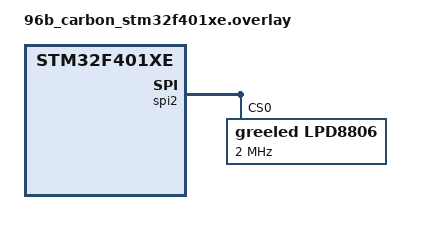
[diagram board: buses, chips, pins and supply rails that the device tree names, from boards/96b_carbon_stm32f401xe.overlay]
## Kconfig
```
# Copyright (c) 2019 Nordic Semiconductor ASA
# SPDX-License-Identifier: Apache-2.0

menu "WS2812 Sample Configuration"

config SAMPLE_LED_UPDATE_DELAY
	int "Delay between LED updates in ms"
	default 50
	help
	  Delay between LED updates in ms.

endmenu

source "Kconfig.zephyr"
```

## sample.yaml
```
sample:
  description: Demonstration of the LED strip driver
  name: LED strip sample
tests:
  sample.drivers.led_strip:
    tags: LED
    filter: dt_alias_exists("led-strip")
    harness_config:
      fixture: fixture_led_strip
    integration_platforms:
      - mimxrt1050_evk
```

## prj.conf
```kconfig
CONFIG_LOG=y
CONFIG_LED_STRIP=y
CONFIG_LED_STRIP_LOG_LEVEL_DBG=y
```

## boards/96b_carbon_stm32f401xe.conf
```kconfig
CONFIG_SPI_STM32_INTERRUPT=y
```

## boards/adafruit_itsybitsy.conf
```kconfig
CONFIG_SAMPLE_LED_STRIP_LENGTH=4
```

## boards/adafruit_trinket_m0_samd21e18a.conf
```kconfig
CONFIG_SAMPLE_LED_STRIP_LENGTH=1
```

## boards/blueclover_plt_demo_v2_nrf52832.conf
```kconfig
# Enable LED 5V Regulator
CONFIG_REGULATOR=y
CONFIG_SAMPLE_LED_STRIP_LENGTH=4
```

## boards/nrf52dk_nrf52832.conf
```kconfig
# This driver only uses spi_write() with the SPIM instance it allocates,
# so PAN 58 doesn't matter, because the RX length is always 0.
CONFIG_SOC_NRF52832_ALLOW_SPIM_DESPITE_PAN_58=y
```

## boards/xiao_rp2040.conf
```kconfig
CONFIG_GPIO=y
CONFIG_GPIO_HOGS=y
```

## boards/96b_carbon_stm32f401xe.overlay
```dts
/*
 * Copyright (c) 2019, Linaro Limited
 *
 * SPDX-License-Identifier: Apache-2.0
 */

#include <zephyr/dt-bindings/led/led.h>

&spi2 {

	lpd8806: lpd8806@0 {
		compatible = "greeled,lpd8806";
		reg = <0>;
		spi-max-frequency = <2000000>;
		chain-length = <1>;
		color-mapping = <LED_COLOR_ID_RED
				 LED_COLOR_ID_GREEN
				 LED_COLOR_ID_BLUE>;
	};
};

/ {
	aliases {
		led-strip = &lpd8806;
	};
};
```

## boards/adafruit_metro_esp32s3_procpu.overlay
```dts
/*
 * Copyright (c) 2022 Espressif Systems (Shanghai) Co., Ltd.
 *
 * SPDX-License-Identifier: Apache-2.0
 */

#include <zephyr/dt-bindings/led/led.h>

/ {
	aliases {
		led-strip = &led_strip;
	};
};

&spi3 {
	pinctrl-0 = <&spim3_neopixel>;
	line-idle-low;

	led_strip: ws2812@0 {
		compatible = "worldsemi,ws2812-spi";

		/* SPI */
		reg = <0>; /* ignored, but necessary for SPI bindings */
		spi-max-frequency = <6400000>;

		/* WS2812 */
		chain-length = <1>; /* arbitrary; change at will */
		spi-cpha;
		spi-one-frame = <0xf0>; /* 11110000: 625 ns high and 625 ns low */
		spi-zero-frame = <0xc0>; /* 11000000: 312.5 ns high and 937.5 ns low */
		color-mapping = <LED_COLOR_ID_GREEN
		LED_COLOR_ID_RED
		LED_COLOR_ID_BLUE>;
	};
};
```

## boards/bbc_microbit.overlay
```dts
/*
 * Copyright (c) 2019, Nordic Semiconductor ASA
 *
 * SPDX-License-Identifier: Apache-2.0
 */

#include <zephyr/dt-bindings/gpio/gpio.h>
#include <zephyr/dt-bindings/led/led.h>

/ {
	cpus {
		cpu@0 {
			clock-frequency = <16000000>;
		};
	};

	led_strip: ws2812 {
		compatible = "worldsemi,ws2812-gpio";

		chain-length = <16>; /* arbitrary; change at will */
		color-mapping = <LED_COLOR_ID_GREEN
				 LED_COLOR_ID_RED
				 LED_COLOR_ID_BLUE>;
		/* P0: */
		gpios = <&gpio0 3 0>;
	};

	aliases {
		led-strip = &led_strip;
	};
};
```

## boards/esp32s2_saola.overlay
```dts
/*
 * Copyright (c) 2022 Espressif Systems (Shanghai) Co., Ltd.
 *
 * SPDX-License-Identifier: Apache-2.0
 */

#include <zephyr/dt-bindings/led/led.h>

&spi3 {
	/* Workaround to support WS2812 driver */
	line-idle-low;

	led_strip: ws2812@0 {
		compatible = "worldsemi,ws2812-spi";

		/* SPI */
		reg = <0>; /* ignored, but necessary for SPI bindings */
		spi-max-frequency = <6400000>;

		/* WS2812 */
		chain-length = <1>; /* arbitrary; change at will */
		spi-cpha;
		spi-one-frame = <0xf0>; /* 11110000: 625 ns high and 625 ns low */
		spi-zero-frame = <0xc0>; /* 11000000: 312.5 ns high and 937.5 ns low */
		color-mapping = <LED_COLOR_ID_GREEN
				 LED_COLOR_ID_RED
				 LED_COLOR_ID_BLUE>;
	};
};

&pinctrl {
	spim3_default: spim3_default {
		group2 {
			pinmux = <SPIM3_MOSI_GPIO18>;
		};
	};
};

/ {
	aliases {
		led-strip = &led_strip;
	};
};
```

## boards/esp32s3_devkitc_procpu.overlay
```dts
/*
 * Copyright (c) 2024 Espressif Systems (Shanghai) Co., Ltd.
 *
 * SPDX-License-Identifier: Apache-2.0
 */

#include <zephyr/dt-bindings/led/led.h>

/ {
	aliases {
		led-strip = &led_strip;
	};
};

i2s_led: &i2s0 {
	status = "okay";

	pinctrl-0 = <&i2s0_pinconf>;

	dmas = <&dma 3>;
	dma-names = "tx";

	led_strip: ws2812 {
		compatible = "worldsemi,ws2812-i2s";

		i2s-dev = <&i2s_led>;
		chain-length = <46>;
		color-mapping = <LED_COLOR_ID_GREEN
				 LED_COLOR_ID_RED
				 LED_COLOR_ID_BLUE>;
		reset-delay = <500>;
	};
};

&dma {
	status = "okay";
};

&pinctrl {
	i2s0_pinconf: i2s0_pinconf {
		group1 {
			pinmux = <I2S0_O_SD_GPIO39>;
			output-enable;
		};
	};
};
```

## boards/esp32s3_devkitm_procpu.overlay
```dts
/*
 * Copyright (c) 2022 Espressif Systems (Shanghai) Co., Ltd.
 *
 * SPDX-License-Identifier: Apache-2.0
 */

#include <zephyr/dt-bindings/led/led.h>

&spi3 {
	/* Workaround to support WS2812 driver */
	line-idle-low;

        led_strip: ws2812@0 {
                compatible = "worldsemi,ws2812-spi";

                /* SPI */
                reg = <0>; /* ignored, but necessary for SPI bindings */
                spi-max-frequency = <6400000>;

                /* WS2812 */
                chain-length = <1>; /* arbitrary; change at will */
                spi-cpha;
                spi-one-frame = <0xf0>; /* 11110000: 625 ns high and 625 ns low */
                spi-zero-frame = <0xc0>; /* 11000000: 312.5 ns high and 937.5 ns low */
                color-mapping = <LED_COLOR_ID_GREEN
                                 LED_COLOR_ID_RED
                                 LED_COLOR_ID_BLUE>;
        };
};

&pinctrl {
	spim3_default: spim3_default {
		group2 {
			pinmux = <SPIM3_MOSI_GPIO48>;
		};
	};
};

/ {
        aliases {
                led-strip = &led_strip;
        };
};
```

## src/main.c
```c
/*
 * Copyright (c) 2017 Linaro Limited
 * Copyright (c) 2018 Intel Corporation
 * Copyright (c) 2024 TOKITA Hiroshi
 *
 * SPDX-License-Identifier: Apache-2.0
 */

#include <errno.h>
#include <string.h>

#define LOG_LEVEL 4
#include <zephyr/logging/log.h>
LOG_MODULE_REGISTER(main);

#include <zephyr/kernel.h>
#include <zephyr/drivers/led_strip.h>
#include <zephyr/device.h>
#include <zephyr/drivers/spi.h>
#include <zephyr/sys/util.h>

#define STRIP_NODE		DT_ALIAS(led_strip)

#if DT_NODE_HAS_PROP(DT_ALIAS(led_strip), chain_length)
#define STRIP_NUM_PIXELS	DT_PROP(DT_ALIAS(led_strip), chain_length)
#else
#error Unable to determine length of LED strip
#endif

#define DELAY_TIME K_MSEC(CONFIG_SAMPLE_LED_UPDATE_DELAY)

#define RGB(_r, _g, _b) { .r = (_r), .g = (_g), .b = (_b) }

static const struct led_rgb colors[] = {
	RGB(0x0f, 0x00, 0x00), /* red */
	RGB(0x00, 0x0f, 0x00), /* green */
	RGB(0x00, 0x00, 0x0f), /* blue */
};

static struct led_rgb pixels[STRIP_NUM_PIXELS];

static const struct device *const strip = DEVICE_DT_GET(STRIP_NODE);

int main(void)
{
	size_t color = 0;
	int rc;

	if (device_is_ready(strip)) {
		LOG_INF("Found LED strip device %s", strip->name);
	} else {
		LOG_ERR("LED strip device %s is not ready", strip->name);
		return 0;
	}

	LOG_INF("Displaying pattern on strip");
	while (1) {
		for (size_t cursor = 0; cursor < ARRAY_SIZE(pixels); cursor++) {
			memset(&pixels, 0x00, sizeof(pixels));
			memcpy(&pixels[cursor], &colors[color], sizeof(struct led_rgb));

			rc = led_strip_update_rgb(strip, pixels, STRIP_NUM_PIXELS);
			if (rc) {
				LOG_ERR("couldn't update strip: %d", rc);
			}

			k_sleep(DELAY_TIME);
		}

		color = (color + 1) % ARRAY_SIZE(colors);
	}

	return 0;
}
```
